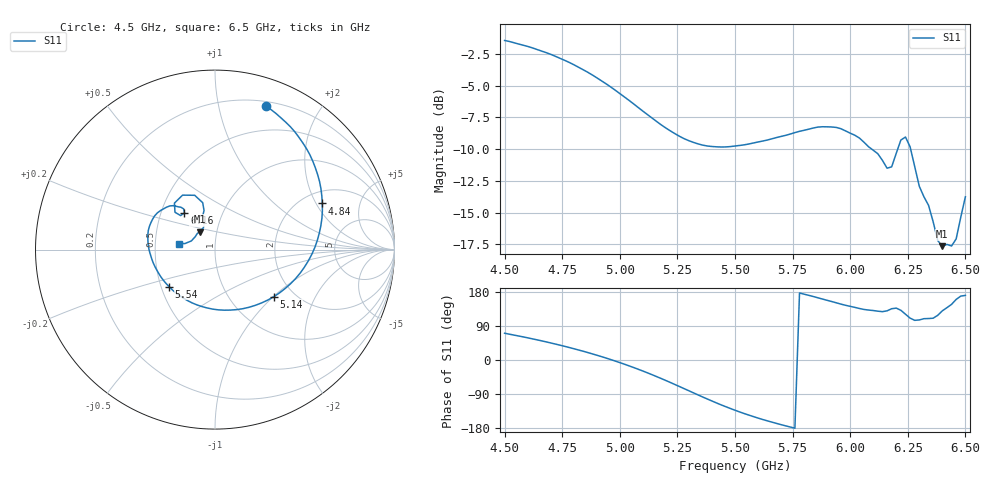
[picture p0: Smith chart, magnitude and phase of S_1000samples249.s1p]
! TOUCHSTONE file generated by CST MICROWAVE STUDIO
! Date and time: Thu Oct 27 12:40:09 2022
! Project name: L.cst
! Parameters = {Di=1.27; Epsilon_r=1.56; InnerDiameter=1.27; Length=2; Lf=10; Lg=60; OuterConductorThickness=0.2921; OuterDiameter=3.6; Wf=3; Wp=41.2; de=1.5; df=6.8; g=0.8; gx=3.47424; gy=2.24355; h=2.34; hf=1.524; px=14.2249; py=8.25959; w=9.7; wx=10.7506; wy=6.01604}
! Header version: 2018
! Port assignment regex: !\s*Touchstone port\s*([0-9]+)\s*=\s*(CST MWS port|CST DS port)\s*([0-9]+|Zmin|Zmax)\s*\(\"(.*)\"\)(\s*mode\s*([0-9]+))?.*
! Touchstone port assignment:
! Touchstone port 1 = CST MWS port 1 ("")
# GHz S DB R 50
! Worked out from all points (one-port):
!   101 points, 4.5 GHz to 6.5 GHz, reference 50 ohm
!   lowest |S11| = -17.6 dB at 6.4 GHz (marker M1), VSWR 1.30, Z = 41.5 + j8.5 ohm
!   |S11| at or under -10 dB: 6.094 GHz to 6.206 GHz (112 MHz wide, 1.82 % of centre); 6.262 GHz to end of sweep
!   S11 on the Smith chart (normalised r, x): 4.5 GHz: 0.24, +1.38; 4.84 GHz: 2.53, +2.26; 5.14 GHz: 1.58, -1.01; 5.54 GHz: 0.55, -0.25; 6.16 GHz: 0.66, +0.29; 6.5 GHz: 0.66, +0.05
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4.5  -1.43 70.6
4.62  -2.02 55.9
4.76  -3.00 36.2
4.84  -3.73 23.3
4.92  -4.61 9.0
5  -5.62 -6.9
5.14  -7.55 -38.8
5.26  -8.99 -70.3
5.38  -9.75 -103.0
5.5  -9.75 -132.6
5.54  -9.66 -141.3
5.76  -8.69 -180.0
5.88  -8.23 160.7
6  -8.74 141.6
6.06  -9.45 133.4
6.16  -11.50 129.8
6.18  -11.39 135.3
6.22  -9.28 131.1
6.24  -9.04 120.8
6.26  -9.81 110.5
6.28  -11.37 104.7
6.3  -12.92 105.7
6.34  -14.41 109.4
6.38  -17.19 117.9
6.4  -17.64 129.8
6.44  -17.62 146.9
6.46  -17.06 159.9
6.5  -13.75 170.5
